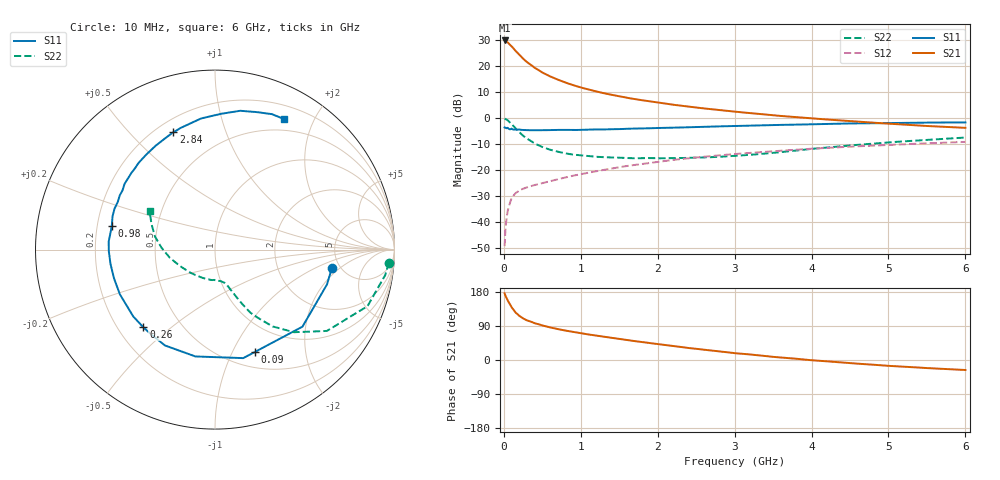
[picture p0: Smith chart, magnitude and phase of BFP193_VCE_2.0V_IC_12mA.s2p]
! Infineon Technologies  Discrete & RF Semiconductors
! BFP193
! VCE = 2.0 V,  IC =  12 mA
! Common Emitter S-Parameters:  Jan 2016
# GHz  S  MA  R  50
!  f  S11  S21  S12  S22
! GHz  MAG  ANG  MAG  ANG  MAG  ANG  MAG  ANG
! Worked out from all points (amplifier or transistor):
!   210 points, 10 MHz to 6 GHz, reference 50 ohm
!   highest |S21| = 29.7 dB at 10 MHz (marker M1)
!   |S21| within 3 dB of that: start of sweep to 123.5 MHz
!   unconditionally stable (mu >= 1): 899.5 MHz to 3.755 GHz
!   at 185 MHz: K = 0.37, MSG = 26.4 dB, |S12| = -28.1 dB
!   at 1.52 GHz: K = 1.09, MAG = 11.7 dB, |S12| = -18.8 dB
!   at 6 GHz: K = 0.92, MSG = 2.7 dB, |S12| = -9.2 dB
!   S11 on the Smith chart (normalised r, x): 10 MHz: 4.27, -1.56; 90 MHz: 0.67, -1.23; 260 MHz: 0.30, -0.40; 980 MHz: 0.26, +0.11; 2.84 GHz: 0.27, +0.67; 6 GHz: 0.36, +1.61
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0.01  0.6592 -9.0  30.61 175.8  0.0035 86.3  0.972 -4.3
0.02  0.6535 -17.3  29.87 169.9  0.0069 82.2  0.9592 -8.5
0.05  0.6495 -41.4  28.15 156.9  0.0165 72.3  0.9061 -20.4
0.09  0.6119 -68.6  24.5 143.0  0.0264 61.4  0.7926 -32.5
0.1  0.6248 -75.4  23.86 139.0  0.0289 59.8  0.7707 -36.0
0.15  0.6052 -100.4  19.52 125.6  0.0361 51.0  0.6366 -46.3
0.2  0.6026 -117.6  16.3 116.6  0.0407 47.2  0.537 -53.0
0.24  0.5906 -128.0  14.19 111.2  0.0435 45.0  0.4728 -56.4
0.26  0.5888 -132.7  13.3 108.7  0.0447 44.4  0.4462 -58.0
0.3  0.5884 -140.7  11.81 104.6  0.0469 43.8  0.4029 -60.7
0.4  0.5856 -154.8  9.197 97.1  0.0519 44.0  0.3254 -64.1
0.5  0.585 -164.1  7.445 91.1  0.0563 44.8  0.2781 -66.2
0.7  0.5916 -179.1  5.44 81.5  0.0669 47.4  0.2254 -69.8
0.98  0.5905 167.1  3.927 71.5  0.0825 49.8  0.1936 -73.8
1.02  0.5928 165.4  3.78 70.2  0.0847 50.0  0.191 -74.5
1.4  0.6106 150.4  2.778 58.5  0.1071 50.6  0.1757 -83.1
2.02  0.6443 131.1  1.953 41.6  0.146 47.4  0.1691 -101.4
2.84  0.6932 109.5  1.404 21.8  0.1946 40.4  0.182 -131.5
3.1  0.7085 103.9  1.282 16.4  0.2092 37.8  0.1925 -141.1
4.1  0.7624 85.7  0.959 -2.0  0.2627 27.5  0.2635 -172.5
5.1  0.803 72.1  0.763 -16.5  0.3095 16.8  0.3493 165.6
6  0.8231 62.0  0.648 -26.4  0.3485 7.1  0.4224 149.5
